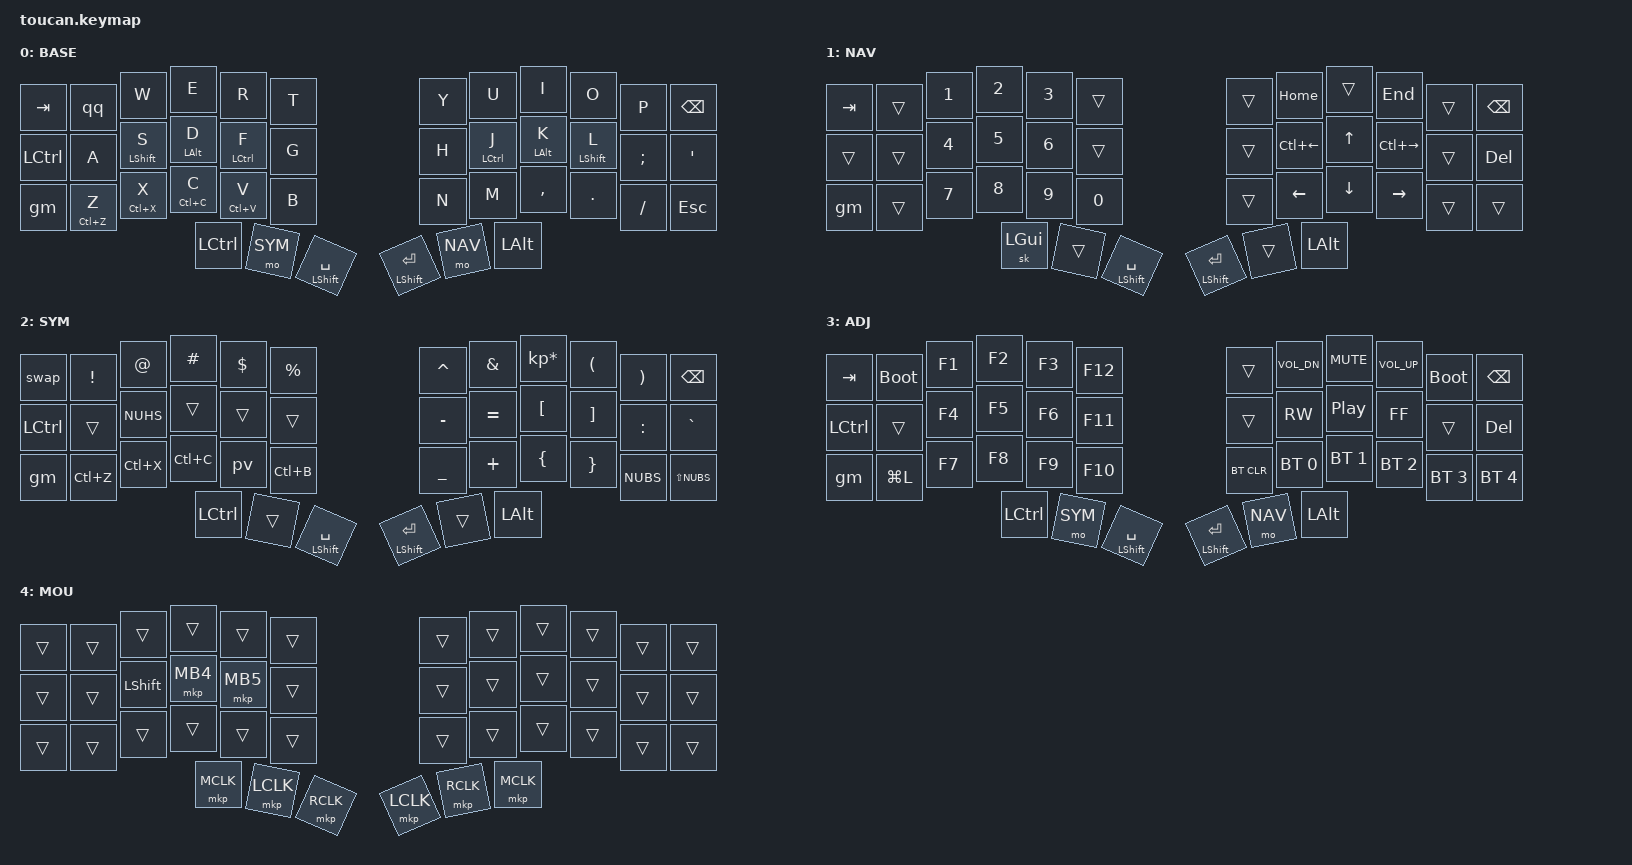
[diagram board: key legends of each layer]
#include <behaviors.dtsi>
#include <dt-bindings/zmk/keys.h>
#include <dt-bindings/zmk/bt.h>
#include <dt-bindings/zmk/outputs.h>
#include <dt-bindings/zmk/pointing.h>

#define BASE 0
#define NAV  1
#define SYM  2
#define ADJ  3

/ {
    conditional_layers {
        compatible = "zmk,conditional-layers";
        tri_layer {
            if-layers = <1 2>;
            then-layer = <3>;
        };
    };

    behaviors {
        // Home row Ctrl: tap-preferred, so it only becomes Ctrl when the key
        // is held past the tapping term. Pressing other keys never forces a hold.
        hm: homerow_mod {
            compatible = "zmk,behavior-hold-tap";
            #binding-cells = <2>;
            flavor = "tap-preferred";
            tapping-term-ms = <250>;
            quick-tap-ms = <175>;
            require-prior-idle-ms = <150>;
            bindings = <&kp>, <&kp>;
        };

        // Thumb Shift on Space/Enter: tap-preferred with a longer tapping term
        // than hm, so even a slow tap still types Space/Enter.
        ts: thumb_shift {
            compatible = "zmk,behavior-hold-tap";
            #binding-cells = <2>;
            flavor = "tap-preferred";
            tapping-term-ms = <300>;
            quick-tap-ms = <175>;
            require-prior-idle-ms = <150>;
            bindings = <&kp>, <&kp>;
        };

        // Hold-for-shortcut on Z/X/C/V: tap types the letter, hold sends Ctrl+<letter>
        // once (a tap macro, so a long hold doesn't auto-repeat the shortcut).
        // Same timings as hm, so recent typing always wins and gives the letter.
        ctl_macro: ctrl_shortcut_macro {
            compatible = "zmk,behavior-macro-one-param";
            #binding-cells = <1>;
            bindings = <&macro_param_1to1>, <&macro_tap &kp MACRO_PLACEHOLDER>;
        };

        cs: ctrl_shortcut {
            compatible = "zmk,behavior-hold-tap";
            #binding-cells = <2>;
            flavor = "tap-preferred";
            tapping-term-ms = <250>;
            quick-tap-ms = <175>;
            require-prior-idle-ms = <150>;
            bindings = <&ctl_macro>, <&kp>;
        };

        // Enter-as-Shift favours Shift: balanced flavour turns the key into Shift as soon
        // as another key is pressed and released while it's held (any delay), or after
        // 200 ms. A quick tap, or rolling into the next key, still gives Enter.
        te: thumb_shift_enter {
            compatible = "zmk,behavior-hold-tap";
            #binding-cells = <2>;
            flavor = "balanced";
            tapping-term-ms = <200>;
            bindings = <&kp>, <&kp>;
        };




        // Left pinky, the Mac ` ~ key beside Z, with a Shift hold. Tapped: ` (Shift+tap: ~,
        // UK Shift+#). Held: Shift. The hold-tap is balanced, so holding it and tapping
        // another key gives Shift at any delay (Shift+click, Shift+arrows). The mod-morph
        // wraps the hold-tap so a thumb Shift + tap still gives ~ instead of a Shift hold.
        ks: shift_grave {
            compatible = "zmk,behavior-hold-tap";
            #binding-cells = <2>;
            flavor = "balanced";
            tapping-term-ms = <200>;
            bindings = <&kp>, <&kp>;
        };

        gm: grave_morph {
            compatible = "zmk,behavior-mod-morph";
            #binding-cells = <0>;
            bindings = <&ks LSHFT GRAVE>, <&kp LS(NUHS)>;
            mods = <(MOD_LSFT|MOD_RSFT)>;
        };

        // SYM + V: tap = paste (Ctrl+V), double tap = clipboard history (Win+V).
        // Tapping term is short so a single paste isn't noticeably delayed.
        pv: paste_dance {
            compatible = "zmk,behavior-tap-dance";
            #binding-cells = <0>;
            tapping-term-ms = <180>;
            bindings = <&kp LC(V)>, <&kp LG(V)>;
        };

        // Mac-style quit: Ctrl+Q sends Alt+F4 (Ctrl is masked, so it's not Ctrl+Alt+F4).
        qq: quit_morph {
            compatible = "zmk,behavior-mod-morph";
            #binding-cells = <0>;
            bindings = <&kp Q>, <&kp LA(F4)>;
            mods = <(MOD_LCTL|MOD_RCTL)>;
        };

        // Window swapper (zmk-tri-state module): SYM + Tab holds Alt and taps
        // Tab, further Tabs cycle. Releasing SYM (or any other key) releases
        // Alt. Shift (position 24) is ignored so Shift+Tab cycles backwards;
        // the mouse layer is ignored so touching the trackpad doesn't end it.
        swap: swapper {
            compatible = "zmk,behavior-tri-state";
            #binding-cells = <0>;
            bindings = <&kt LALT>, <&kp TAB>, <&kt LALT>;
            ignored-key-positions = <24>;
            ignored-layers = <4>;
        };
    };

    keymap {
        compatible = "zmk,keymap";

        base {
            display-name = "BASE";
            bindings = <
                &kp TAB   &qq   &kp W &kp E &kp R &kp T   &kp Y &kp U  &kp I     &kp O   &kp P    &kp BSPC
                &kp LCTRL &kp A &hm LSHFT S &hm LALT D &hm LCTRL F &kp G   &kp H &hm LCTRL J  &hm LALT K &hm LSHFT L &kp SEMI &kp SQT
                &gm &cs LC(Z) Z &cs LC(X) X &cs LC(C) C &cs LC(V) V &kp B   &kp N &kp M  &kp COMMA &kp DOT &kp FSLH &kp ESC
                                &kp LCTRL &mo SYM &ts LSHFT SPACE   &te LSHFT RET &mo NAV &kp LALT
            >;
        };

        nav {
            display-name = "NAV";
            bindings = <
                &kp TAB     &trans          &kp N1       &kp N2       &kp N3       &trans         &trans  &kp HOME &trans &kp END   &trans &kp BSPC
                &trans      &trans          &kp N4       &kp N5       &kp N6       &trans       &trans   &kp LC(LEFT) &kp UP &kp LC(RIGHT) &trans &kp DEL
                &gm   &trans          &kp N7       &kp N8       &kp N9       &kp N0         &trans   &kp LEFT &kp DOWN &kp RIGHT &trans &trans
                                                &sk LGUI     &trans       &ts LSHFT SPACE      &te LSHFT RET  &trans   &kp LALT
            >;
        };

        sym {
            display-name = "SYM";
            bindings = <
                &swap     &kp EXCL &kp AT &kp HASH &kp DLLR &kp PRCNT   &kp CARET &kp AMPS  &kp KP_MULTIPLY &kp LPAR &kp RPAR &kp BSPC
                &kp LCTRL &trans   &kp NUHS &trans   &trans   &trans      &kp MINUS &kp EQUAL &kp LBKT        &kp RBKT &kp COLON &kp GRAVE
                &gm &kp LC(Z) &kp LC(X) &kp LC(C) &pv &kp LC(B)   &kp UNDER &kp PLUS  &kp LBRC        &kp RBRC &kp NUBS    &kp LS(NUBS)
                                          &kp LCTRL &trans   &ts LSHFT SPACE   &te LSHFT RET   &trans    &kp LALT
            >;
        };

        adj {
            display-name = "ADJ";
            bindings = <
                &kp TAB   &bootloader &kp F1 &kp F2 &kp F3 &kp F12   &trans &kp C_VOL_DN &kp C_MUTE  &kp C_VOL_UP &bootloader &kp BSPC
                &kp LCTRL &trans &kp F4 &kp F5 &kp F6 &kp F11   &trans &kp C_RW     &kp C_PP    &kp C_FF     &trans &kp DEL
                &gm &kp LG(L) &kp F7 &kp F8 &kp F9 &kp F10   &bt BT_CLR   &bt BT_SEL 0 &bt BT_SEL 1 &bt BT_SEL 2 &bt BT_SEL 3 &bt BT_SEL 4
                                   &kp LCTRL &mo SYM &ts LSHFT SPACE   &te LSHFT RET &mo NAV &kp LALT
            >;
        };

        mouse {
            display-name = "MOU";
            bindings = <
                &trans &trans &trans &trans &trans &trans           &trans &trans &trans &trans &trans &trans
                &trans &trans &kp LSHFT &mkp MB4 &mkp MB5 &trans       &trans &trans &trans &trans &trans &trans
                &trans &trans &trans &trans &trans &trans           &trans &trans &trans &trans &trans &trans
                            &mkp MCLK &mkp LCLK &mkp RCLK           &mkp LCLK &mkp RCLK &mkp MCLK
            >;
        };

        extra_2 {
                status = "reserved";
        };

        extra_3 {
                status = "reserved";
        };
    };
};
